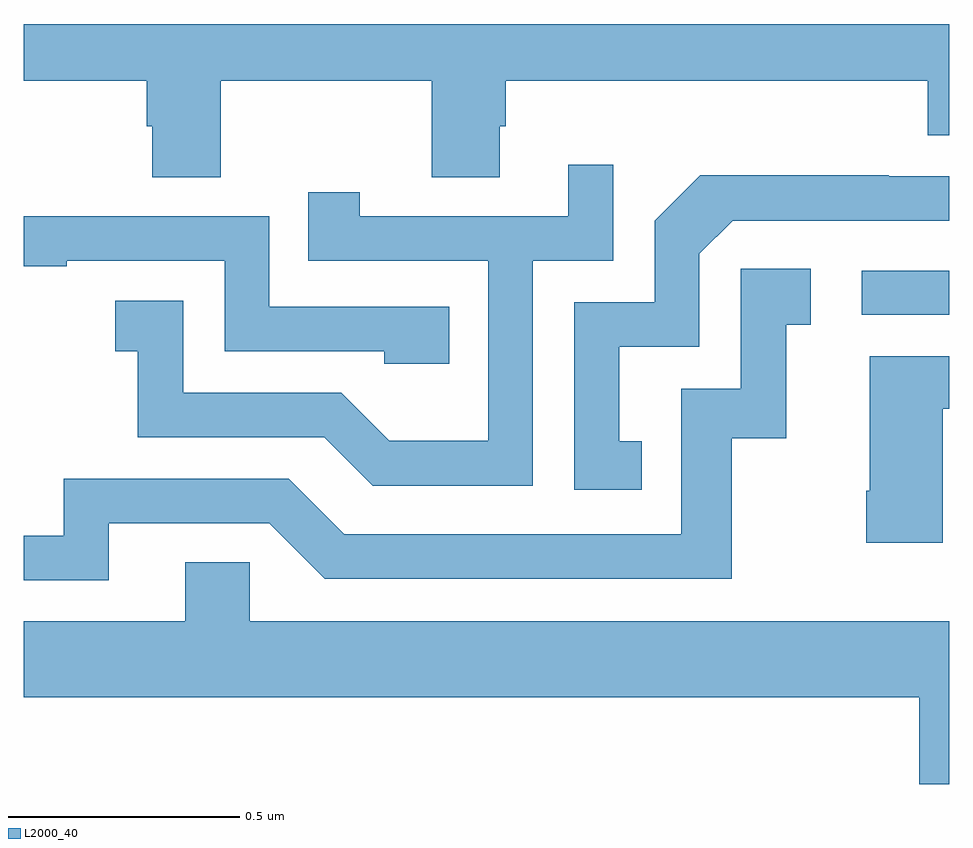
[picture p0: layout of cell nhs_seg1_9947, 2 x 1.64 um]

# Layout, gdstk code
import gdstk
lib = gdstk.Library(unit=1e-6, precision=1e-09)
def R(c, l, rs):  # rectangles x0, y0, x1, y1
    for r in rs: c.add(gdstk.rectangle(r[:2], r[2:], *l))
def P(c, l, *ps):  # polygons
    for p in ps: c.add(gdstk.Polygon(p, *l))
L2000_40 = (2000, 40)

nhs_seg1_9947 = lib.new_cell('nhs_seg1_9947')
R(nhs_seg1_9947, L2000_40, [(236.811,540.57,237,540.666)])
P(nhs_seg1_9947, L2000_40, [(235.425,541.076),(235.882,541.076),(235.882,540.868),(236.029,540.868),(236.029,540.978),(236.042,540.978),(236.042,541.076),(236.954,541.076),(236.954,540.959),(237,540.959),(237,541.199),(235,541.199),(235,541.076),(235.265,541.076),(235.265,540.978),(235.277,540.978),(235.277,540.868),(235.425,540.868)],
  [(236.1,540.687),(236.274,540.687),(236.274,540.895),(236.177,540.895),(236.177,540.783),(235.726,540.783),(235.726,540.835),(235.615,540.835),(235.615,540.687),(236.004,540.687),(236.004,540.298),(235.79,540.298),(235.686,540.402),(235.344,540.402),(235.344,540.601),(235.197,540.601),(235.197,540.491),(235.246,540.491),(235.246,540.306),(235.649,540.306),(235.754,540.201),(236.1,540.201)],
  [(236.336,540.297),(236.287,540.297),(236.287,540.501),(236.46,540.501),(236.46,540.702),(236.532,540.774),(237,540.774),(237,540.87),(236.87,540.87),(236.87,540.872),(236.462,540.872),(236.364,540.774),(236.364,540.597),(236.19,540.597),(236.19,540.192),(236.336,540.192)],
  [(235.919,540.588),(235.53,540.588),(235.53,540.783),(235,540.783),(235,540.675),(235.093,540.675),(235.093,540.687),(235.434,540.687),(235.434,540.492),(235.779,540.492),(235.779,540.465),(235.919,540.465)],
  [(235.183,540.12),(235.53,540.12),(235.65,540),(236.53,540),(236.53,540.303),(236.648,540.303),(236.648,540.549),(236.701,540.549),(236.701,540.67),(236.55,540.67),(236.55,540.411),(236.421,540.411),(236.421,540.096),(235.692,540.096),(235.572,540.216),(235.086,540.216),(235.086,540.093),(235,540.093),(235,539.997),(235.183,539.997)],
  [(236.986,540.367),(237,540.367),(237,540.481),(236.828,540.481),(236.828,540.19),(236.821,540.19),(236.821,540.078),(236.986,540.078)],
  [(237,539.908),(235.488,539.908),(235.488,540.035),(235.349,540.035),(235.349,539.908),(235,539.908),(235,539.744),(236.936,539.744),(236.936,539.556),(237,539.556)])

lib.write_gds('nhs_seg1_9947.gds')
